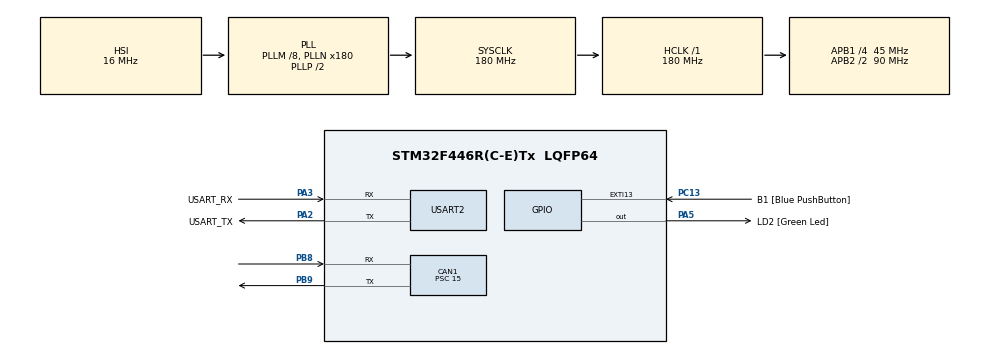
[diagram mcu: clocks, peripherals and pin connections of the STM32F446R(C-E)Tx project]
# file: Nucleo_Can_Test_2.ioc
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CAN1.CalculateBaudRate=1000000
CAN1.CalculateTimeBit=1000
CAN1.CalculateTimeQuantum=333.3333333333333
CAN1.Mode=CAN_MODE_LOOPBACK
CAN1.Prescaler=15
CAN1.TTCM=DISABLE
Mcu.Family=STM32F4
Mcu.Name=STM32F446R(C-E)Tx
Mcu.Package=LQFP64
NVIC.CAN1_RX0_IRQn=true\:0\:0\:false\:false\:true\:true\:true\:true
NVIC.CAN1_RX1_IRQn=true\:0\:0\:false\:false\:true\:true\:true\:true
NVIC.PriorityGroup=NVIC_PRIORITYGROUP_0
PA13.GPIO_Label=TMS
PA13.Mode=Serial_Wire
PA13.Signal=SYS_JTMS-SWDIO
PA14.GPIO_Label=TCK
PA14.Mode=Serial_Wire
PA14.Signal=SYS_JTCK-SWCLK
PA2.GPIO_Label=USART_TX
PA2.Mode=Asynchronous
PA2.Signal=USART2_TX
PA3.GPIO_Label=USART_RX
PA3.Mode=Asynchronous
PA3.Signal=USART2_RX
PA5.GPIO_Label=LD2 [Green Led]
PA5.Signal=GPIO_Output
PB8.Mode=CAN_Activate
PB8.Signal=CAN1_RX
PB9.Mode=CAN_Activate
PB9.Signal=CAN1_TX
PC13.GPIO_Label=B1 [Blue PushButton]
PC13.GPIO_ModeDefaultEXTI=GPIO_MODE_IT_FALLING
PC13.Signal=GPXTI13
PC14-OSC32_IN.Mode=LSE-External-Oscillator
PC14-OSC32_IN.Signal=RCC_OSC32_IN
PC15-OSC32_OUT.Mode=LSE-External-Oscillator
PC15-OSC32_OUT.Signal=RCC_OSC32_OUT
PH0-OSC_IN.Mode=HSE-External-Oscillator
PH0-OSC_IN.Signal=RCC_OSC_IN
PH1-OSC_OUT.Mode=HSE-External-Oscillator
PH1-OSC_OUT.Signal=RCC_OSC_OUT
ProjectManager.HeapSize=0x200
ProjectManager.StackSize=0x400
ProjectManager.TargetToolchain=STM32CubeIDE
RCC.48MHZClocksFreq_Value=84000000
RCC.AHBFreq_Value=180000000
RCC.APB1CLKDivider=RCC_HCLK_DIV4
RCC.APB1Freq_Value=45000000
RCC.APB1TimFreq_Value=90000000
RCC.APB2CLKDivider=RCC_HCLK_DIV2
RCC.APB2Freq_Value=90000000
RCC.APB2TimFreq_Value=180000000
RCC.CortexFreq_Value=180000000
RCC.FLatency-AdvancedSettings=FLASH_LATENCY_5
RCC.HCLKFreq_Value=180000000
RCC.HSE_VALUE=8000000
RCC.HSI_VALUE=16000000
RCC.PLLM=8
RCC.PLLN=180
RCC.SYSCLKFreq_VALUE=180000000
RCC.SYSCLKSource=RCC_SYSCLKSOURCE_PLLCLK
RCC.USBFreq_Value=180000000
RCC.VCOOutputFreq_Value=360000000
USART2.VirtualMode=VM_ASYNC
board=NUCLEO-F446RE

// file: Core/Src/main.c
/* USER CODE BEGIN Header */
/**
  ******************************************************************************
  * @file           : main.c
  * @brief          : Main program body
  ******************************************************************************
  * @attention
  *
  * Copyright (c) 2024 STMicroelectronics.
  * All rights reserved.
  *
  * This software is licensed under terms that can be found in the LICENSE file
  * in the root directory of this software component.
  * If no LICENSE file comes with this software, it is provided AS-IS.
  *
  ******************************************************************************
  */
/* USER CODE END Header */
#include "main.h"
#include "can.h"
#include "usart.h"
#include "gpio.h"

void SystemClock_Config(void);

/* USER CODE BEGIN 0 */
CAN_TxHeaderTypeDef TxHeader;
CAN_RxHeaderTypeDef RxHeader;

uint32_t TxMailbox[4];

uint8_t TxData[8];
uint8_t RxData[8];

uint8_t count = 0;

void HAL_CAN_RxFifo0MsgPendingCallback(CAN_HandleTypeDef *hcan)
{
	HAL_CAN_GetRxMessage(hcan, CAN_RX_FIFO0, &RxHeader, RxData);
	count++;
}
/* USER CODE END 0 */

int main(void)
{

  /* MCU Configuration--------------------------------------------------------*/

  /* Reset of all peripherals, Initializes the Flash interface and the Systick. */
  HAL_Init();

  /* Configure the system clock */
  SystemClock_Config();

  /* Initialize all configured peripherals */
  MX_GPIO_Init();
  MX_USART2_UART_Init();
  MX_CAN1_Init();
  /* USER CODE BEGIN 2 */
  HAL_CAN_Start(&hcan1);
  HAL_CAN_ActivateNotification(&hcan1, CAN_IT_RX_FIFO0_MSG_PENDING);

  TxHeader.IDE = CAN_ID_STD;
  TxHeader.StdId = 0x121;
  TxHeader.RTR = CAN_RTR_DATA;
  TxHeader.DLC = 2;

  TxData[0] = 50;
  TxData[1] = 0xAA;

  HAL_CAN_AddTxMessage(&hcan1, &TxHeader, &TxData[0], TxMailbox);
  /* USER CODE END 2 */

  /* Infinite loop */
  while (1)
  {

  }
}

void SystemClock_Config(void)
{
  RCC_OscInitTypeDef RCC_OscInitStruct = {0};
  RCC_ClkInitTypeDef RCC_ClkInitStruct = {0};

  /** Configure the main internal regulator output voltage
  */
  __HAL_RCC_PWR_CLK_ENABLE();
  __HAL_PWR_VOLTAGESCALING_CONFIG(PWR_REGULATOR_VOLTAGE_SCALE1);

  /** Initializes the RCC Oscillators according to the specified parameters
  * in the RCC_OscInitTypeDef structure.
  */
  RCC_OscInitStruct.OscillatorType = RCC_OSCILLATORTYPE_HSI;
  RCC_OscInitStruct.HSIState = RCC_HSI_ON;
  RCC_OscInitStruct.HSICalibrationValue = RCC_HSICALIBRATION_DEFAULT;
  RCC_OscInitStruct.PLL.PLLState = RCC_PLL_ON;
  RCC_OscInitStruct.PLL.PLLSource = RCC_PLLSOURCE_HSI;
  RCC_OscInitStruct.PLL.PLLM = 8;
  RCC_OscInitStruct.PLL.PLLN = 180;
  RCC_OscInitStruct.PLL.PLLP = RCC_PLLP_DIV2;
  RCC_OscInitStruct.PLL.PLLQ = 2;
  RCC_OscInitStruct.PLL.PLLR = 2;
  if (HAL_RCC_OscConfig(&RCC_OscInitStruct) != HAL_OK)
  {
    Error_Handler();
  }

  /** Activate the Over-Drive mode
  */
  if (HAL_PWREx_EnableOverDrive() != HAL_OK)
  {
    Error_Handler();
  }

  /** Initializes the CPU, AHB and APB buses clocks
  */
  RCC_ClkInitStruct.ClockType = RCC_CLOCKTYPE_HCLK|RCC_CLOCKTYPE_SYSCLK
                              |RCC_CLOCKTYPE_PCLK1|RCC_CLOCKTYPE_PCLK2;
  RCC_ClkInitStruct.SYSCLKSource = RCC_SYSCLKSOURCE_PLLCLK;
  RCC_ClkInitStruct.AHBCLKDivider = RCC_SYSCLK_DIV1;
  RCC_ClkInitStruct.APB1CLKDivider = RCC_HCLK_DIV4;
  RCC_ClkInitStruct.APB2CLKDivider = RCC_HCLK_DIV2;

  if (HAL_RCC_ClockConfig(&RCC_ClkInitStruct, FLASH_LATENCY_5) != HAL_OK)
  {
    Error_Handler();
  }
}

void Error_Handler(void)
{
  __disable_irq();
  while (1)
  {
  }
}
